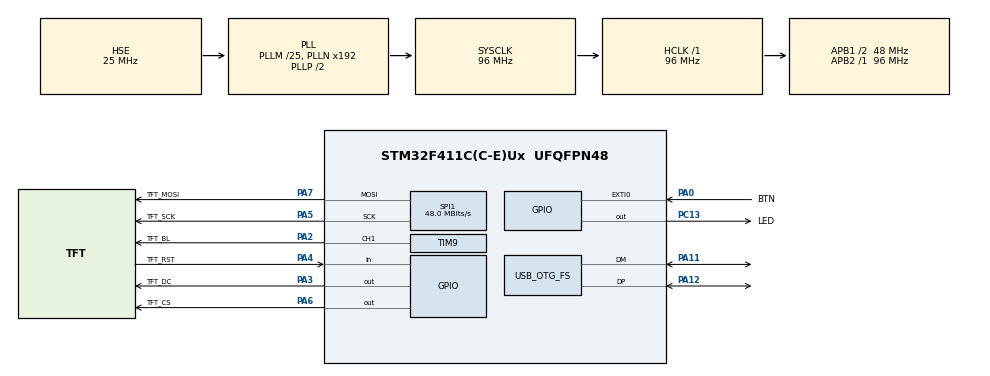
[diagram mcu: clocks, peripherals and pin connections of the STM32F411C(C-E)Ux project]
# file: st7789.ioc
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Dma.Request0=SPI1_TX
Dma.SPI1_TX.0.Direction=DMA_MEMORY_TO_PERIPH
Dma.SPI1_TX.0.FIFOMode=DMA_FIFOMODE_DISABLE
Dma.SPI1_TX.0.Instance=DMA2_Stream2
Dma.SPI1_TX.0.MemDataAlignment=DMA_MDATAALIGN_BYTE
Dma.SPI1_TX.0.MemInc=DMA_MINC_ENABLE
Dma.SPI1_TX.0.Mode=DMA_NORMAL
Dma.SPI1_TX.0.PeriphDataAlignment=DMA_PDATAALIGN_BYTE
Dma.SPI1_TX.0.PeriphInc=DMA_PINC_DISABLE
Dma.SPI1_TX.0.Priority=DMA_PRIORITY_LOW
Mcu.Family=STM32F4
Mcu.Name=STM32F411C(C-E)Ux
Mcu.Package=UFQFPN48
NVIC.DMA2_Stream2_IRQn=true\:0\:0\:false\:false\:true\:false\:true
NVIC.OTG_FS_IRQn=true\:0\:0\:false\:false\:true\:false\:true
NVIC.PriorityGroup=NVIC_PRIORITYGROUP_4
PA0-WKUP.GPIO_Label=BTN
PA0-WKUP.Signal=GPXTI0
PA11.Mode=Device_Only
PA11.Signal=USB_OTG_FS_DM
PA12.Mode=Device_Only
PA12.Signal=USB_OTG_FS_DP
PA13.Mode=Serial_Wire
PA13.Signal=SYS_JTMS-SWDIO
PA14.Mode=Serial_Wire
PA14.Signal=SYS_JTCK-SWCLK
PA2.GPIO_Label=TFT_BL
PA2.Signal=S_TIM9_CH1
PA3.GPIO_Label=TFT_DC
PA3.Signal=GPIO_Output
PA4.GPIO_Label=TFT_RST
PA4.Signal=GPIO_Input
PA5.GPIO_Label=TFT_SCK
PA5.Mode=TX_Only_Simplex_Unidirect_Master
PA5.Signal=SPI1_SCK
PA6.GPIO_Label=TFT_CS
PA6.Signal=GPIO_Output
PA7.GPIO_Label=TFT_MOSI
PA7.Mode=TX_Only_Simplex_Unidirect_Master
PA7.Signal=SPI1_MOSI
PC13-ANTI_TAMP.GPIO_Label=LED
PC13-ANTI_TAMP.Signal=GPIO_Output
PH0\ -\ OSC_IN.Mode=HSE-External-Oscillator
PH0\ -\ OSC_IN.Signal=RCC_OSC_IN
PH1\ -\ OSC_OUT.Mode=HSE-External-Oscillator
PH1\ -\ OSC_OUT.Signal=RCC_OSC_OUT
ProjectManager.HeapSize=0x200
ProjectManager.StackSize=0x400
ProjectManager.TargetToolchain=STM32CubeIDE
RCC.48MHZClocksFreq_Value=48000000
RCC.AHBFreq_Value=96000000
RCC.APB1CLKDivider=RCC_HCLK_DIV2
RCC.APB1Freq_Value=48000000
RCC.APB1TimFreq_Value=96000000
RCC.APB2Freq_Value=96000000
RCC.APB2TimFreq_Value=96000000
RCC.CortexFreq_Value=96000000
RCC.HCLKFreq_Value=96000000
RCC.HSE_VALUE=25000000
RCC.HSI_VALUE=16000000
RCC.LSE_VALUE=32768
RCC.PLLM=25
RCC.PLLSourceVirtual=RCC_PLLSOURCE_HSE
RCC.SYSCLKFreq_VALUE=96000000
RCC.SYSCLKSource=RCC_SYSCLKSOURCE_PLLCLK
RCC.VCOOutputFreq_Value=192000000
SH.S_TIM9_CH1.0=TIM9_CH1,PWM Generation1 CH1
SPI1.CalculateBaudRate=48.0 MBits/s
SPI1.Direction=SPI_DIRECTION_2LINES
SPI1.Mode=SPI_MODE_MASTER
SPI1.VirtualType=VM_MASTER
TIM9.Channel-PWM\ Generation1\ CH1=TIM_CHANNEL_1
TIM9.Period=999
TIM9.Prescaler=479
TIM9.Pulse-PWM\ Generation1\ CH1=100
USB_DEVICE.CLASS_NAME_FS=CDC
USB_DEVICE.VirtualMode=Cdc
USB_DEVICE.VirtualModeFS=Cdc_FS
USB_OTG_FS.VirtualMode=Device_Only
VP_TIM9_VS_ClockSourceINT.Mode=Internal
VP_USB_DEVICE_VS_USB_DEVICE_CDC_FS.Mode=CDC_FS
board=custom

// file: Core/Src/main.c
/* USER CODE BEGIN Header */
/**
  ******************************************************************************
  * @file           : main.c
  * @brief          : Main program body
  ******************************************************************************
  * @attention
  *
  * Copyright (c) 2022 STMicroelectronics.
  * All rights reserved.
  *
  * This software is licensed under terms that can be found in the LICENSE file
  * in the root directory of this software component.
  * If no LICENSE file comes with this software, it is provided AS-IS.
  *
  ******************************************************************************
  */
/* USER CODE END Header */
#include "main.h"
#include "usb_device.h"

/* USER CODE BEGIN Includes */
#include "usbd_cdc_if.h"
#include "stdio.h"
#include "lvgl.h"
/* USER CODE END Includes */

SPI_HandleTypeDef hspi1;
DMA_HandleTypeDef hdma_spi1_tx;

TIM_HandleTypeDef htim9;

void SystemClock_Config(void);
static void MX_GPIO_Init(void);
static void MX_DMA_Init(void);
static void MX_SPI1_Init(void);
static void MX_TIM9_Init(void);

/* USER CODE BEGIN 0 */

int _write(int file, char *ptr, int len) {
	uint8_t status;
	while((status = CDC_Transmit_FS((uint8_t*) ptr, len)) != HAL_OK) {
		if (status == HAL_ERROR) return 0; // Should prevent "hanging"
	}
    return len;
}

/* USER CODE END 0 */

int main(void)
{

  /* MCU Configuration--------------------------------------------------------*/

  /* Reset of all peripherals, Initializes the Flash interface and the Systick. */
  HAL_Init();

  /* Configure the system clock */
  SystemClock_Config();

  /* Initialize all configured peripherals */
  MX_GPIO_Init();
  MX_DMA_Init();
  MX_SPI1_Init();
  MX_TIM9_Init();
  MX_USB_DEVICE_Init();
  /* USER CODE BEGIN 2 */

  lv_init();

  HAL_TIM_PWM_Start(&htim9, TIM_CHANNEL_1);

  /* USER CODE END 2 */

  /* Infinite loop */
  /* USER CODE BEGIN WHILE */

  uint32_t now = 0, last_print = 0, lv_tick = 0, lv_tim = 0;

  while (1)
  {

	  now = HAL_GetTick();

	  if (now - lv_tim > 1) {
		  lv_timer_handler();

		  lv_tim = now;
	  }

	  if (now - lv_tick > 10) {
		  lv_tick_inc(10);

		  lv_tick = now;
	  }

	  if (now - last_print > 1000) {
		  DBG("Tick %lu", now % 1000);

		  last_print = now;
	  }

    /* USER CODE END WHILE */

  }
}

void SystemClock_Config(void)
{
  RCC_OscInitTypeDef RCC_OscInitStruct = {0};
  RCC_ClkInitTypeDef RCC_ClkInitStruct = {0};

  /** Configure the main internal regulator output voltage
  */
  __HAL_RCC_PWR_CLK_ENABLE();
  __HAL_PWR_VOLTAGESCALING_CONFIG(PWR_REGULATOR_VOLTAGE_SCALE1);
  /** Initializes the RCC Oscillators according to the specified parameters
  * in the RCC_OscInitTypeDef structure.
  */
  RCC_OscInitStruct.OscillatorType = RCC_OSCILLATORTYPE_HSE;
  RCC_OscInitStruct.HSEState = RCC_HSE_ON;
  RCC_OscInitStruct.PLL.PLLState = RCC_PLL_ON;
  RCC_OscInitStruct.PLL.PLLSource = RCC_PLLSOURCE_HSE;
  RCC_OscInitStruct.PLL.PLLM = 25;
  RCC_OscInitStruct.PLL.PLLN = 192;
  RCC_OscInitStruct.PLL.PLLP = RCC_PLLP_DIV2;
  RCC_OscInitStruct.PLL.PLLQ = 4;
  if (HAL_RCC_OscConfig(&RCC_OscInitStruct) != HAL_OK)
  {
    Error_Handler();
  }
  /** Initializes the CPU, AHB and APB buses clocks
  */
  RCC_ClkInitStruct.ClockType = RCC_CLOCKTYPE_HCLK|RCC_CLOCKTYPE_SYSCLK
                              |RCC_CLOCKTYPE_PCLK1|RCC_CLOCKTYPE_PCLK2;
  RCC_ClkInitStruct.SYSCLKSource = RCC_SYSCLKSOURCE_PLLCLK;
  RCC_ClkInitStruct.AHBCLKDivider = RCC_SYSCLK_DIV1;
  RCC_ClkInitStruct.APB1CLKDivider = RCC_HCLK_DIV2;
  RCC_ClkInitStruct.APB2CLKDivider = RCC_HCLK_DIV1;

  if (HAL_RCC_ClockConfig(&RCC_ClkInitStruct, FLASH_LATENCY_3) != HAL_OK)
  {
    Error_Handler();
  }
}

static void MX_SPI1_Init(void)
{

  /* SPI1 parameter configuration*/
  hspi1.Instance = SPI1;
  hspi1.Init.Mode = SPI_MODE_MASTER;
  hspi1.Init.Direction = SPI_DIRECTION_2LINES;
  hspi1.Init.DataSize = SPI_DATASIZE_8BIT;
  hspi1.Init.CLKPolarity = SPI_POLARITY_LOW;
  hspi1.Init.CLKPhase = SPI_PHASE_1EDGE;
  hspi1.Init.NSS = SPI_NSS_SOFT;
  hspi1.Init.BaudRatePrescaler = SPI_BAUDRATEPRESCALER_2;
  hspi1.Init.FirstBit = SPI_FIRSTBIT_MSB;
  hspi1.Init.TIMode = SPI_TIMODE_DISABLE;
  hspi1.Init.CRCCalculation = SPI_CRCCALCULATION_DISABLE;
  hspi1.Init.CRCPolynomial = 10;
  if (HAL_SPI_Init(&hspi1) != HAL_OK)
  {
    Error_Handler();
  }

}

static void MX_TIM9_Init(void)
{

  TIM_ClockConfigTypeDef sClockSourceConfig = {0};
  TIM_OC_InitTypeDef sConfigOC = {0};

  htim9.Instance = TIM9;
  htim9.Init.Prescaler = 479;
  htim9.Init.CounterMode = TIM_COUNTERMODE_UP;
  htim9.Init.Period = 999;
  htim9.Init.ClockDivision = TIM_CLOCKDIVISION_DIV1;
  htim9.Init.AutoReloadPreload = TIM_AUTORELOAD_PRELOAD_DISABLE;
  if (HAL_TIM_Base_Init(&htim9) != HAL_OK)
  {
    Error_Handler();
  }
  sClockSourceConfig.ClockSource = TIM_CLOCKSOURCE_INTERNAL;
  if (HAL_TIM_ConfigClockSource(&htim9, &sClockSourceConfig) != HAL_OK)
  {
    Error_Handler();
  }
  if (HAL_TIM_PWM_Init(&htim9) != HAL_OK)
  {
    Error_Handler();
  }
  sConfigOC.OCMode = TIM_OCMODE_PWM1;
  sConfigOC.Pulse = 100;
  sConfigOC.OCPolarity = TIM_OCPOLARITY_HIGH;
  sConfigOC.OCFastMode = TIM_OCFAST_DISABLE;
  if (HAL_TIM_PWM_ConfigChannel(&htim9, &sConfigOC, TIM_CHANNEL_1) != HAL_OK)
  {
    Error_Handler();
  }
  HAL_TIM_MspPostInit(&htim9);

}

static void MX_DMA_Init(void)
{

  /* DMA controller clock enable */
  __HAL_RCC_DMA2_CLK_ENABLE();

  /* DMA interrupt init */
  /* DMA2_Stream2_IRQn interrupt configuration */
  HAL_NVIC_SetPriority(DMA2_Stream2_IRQn, 0, 0);
  HAL_NVIC_EnableIRQ(DMA2_Stream2_IRQn);

}

static void MX_GPIO_Init(void)
{
  GPIO_InitTypeDef GPIO_InitStruct = {0};

  /* GPIO Ports Clock Enable */
  __HAL_RCC_GPIOC_CLK_ENABLE();
  __HAL_RCC_GPIOH_CLK_ENABLE();
  __HAL_RCC_GPIOA_CLK_ENABLE();

  /*Configure GPIO pin Output Level */
  HAL_GPIO_WritePin(LED_GPIO_Port, LED_Pin, GPIO_PIN_RESET);

  /*Configure GPIO pin Output Level */
  HAL_GPIO_WritePin(GPIOA, TFT_DC_Pin|TFT_CS_Pin, GPIO_PIN_RESET);

  /*Configure GPIO pin : LED_Pin */
  GPIO_InitStruct.Pin = LED_Pin;
  GPIO_InitStruct.Mode = GPIO_MODE_OUTPUT_PP;
  GPIO_InitStruct.Pull = GPIO_NOPULL;
  GPIO_InitStruct.Speed = GPIO_SPEED_FREQ_LOW;
  HAL_GPIO_Init(LED_GPIO_Port, &GPIO_InitStruct);

  /*Configure GPIO pin : BTN_Pin */
  GPIO_InitStruct.Pin = BTN_Pin;
  GPIO_InitStruct.Mode = GPIO_MODE_IT_RISING;
  GPIO_InitStruct.Pull = GPIO_NOPULL;
  HAL_GPIO_Init(BTN_GPIO_Port, &GPIO_InitStruct);

  /*Configure GPIO pins : TFT_DC_Pin TFT_CS_Pin */
  GPIO_InitStruct.Pin = TFT_DC_Pin|TFT_CS_Pin;
  GPIO_InitStruct.Mode = GPIO_MODE_OUTPUT_PP;
  GPIO_InitStruct.Pull = GPIO_NOPULL;
  GPIO_InitStruct.Speed = GPIO_SPEED_FREQ_LOW;
  HAL_GPIO_Init(GPIOA, &GPIO_InitStruct);

  /*Configure GPIO pin : TFT_RST_Pin */
  GPIO_InitStruct.Pin = TFT_RST_Pin;
  GPIO_InitStruct.Mode = GPIO_MODE_INPUT;
  GPIO_InitStruct.Pull = GPIO_NOPULL;
  HAL_GPIO_Init(TFT_RST_GPIO_Port, &GPIO_InitStruct);

}

void Error_Handler(void)
{
  __disable_irq();
  while (1)
  {
  }
}
